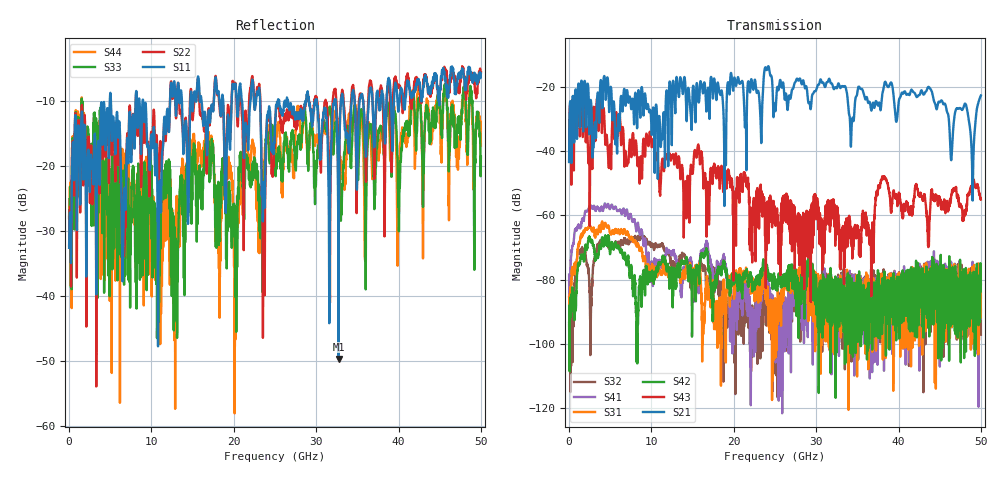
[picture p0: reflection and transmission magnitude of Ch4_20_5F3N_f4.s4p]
!Agilent Technologies,N5247A,US51170199,A.09.90.13
!Agilent N5247A: A.09.90.13
!Date: Monday, December 14, 2015 15:28:08
!Correction: S11(Full 4 Port(1,2,3,4))
!S12(Full 4 Port(1,2,3,4))
!S13(Full 4 Port(1,2,3,4))
!S14(Full 4 Port(1,2,3,4))
!S21(Full 4 Port(1,2,3,4))
!S22(Full 4 Port(1,2,3,4))
!S23(Full 4 Port(1,2,3,4))
!S24(Full 4 Port(1,2,3,4))
!S31(Full 4 Port(1,2,3,4))
!S32(Full 4 Port(1,2,3,4))
!S33(Full 4 Port(1,2,3,4))
!S34(Full 4 Port(1,2,3,4))
!S41(Full 4 Port(1,2,3,4))
!S42(Full 4 Port(1,2,3,4))
!S43(Full 4 Port(1,2,3,4))
!S44(Full 4 Port(1,2,3,4))
!S4P File: Measurements: <S11,S12,S13,S14>,
!<S21,S22,S23,S24>,
!<S31,S32,S33,S34>,
!<S41,S42,S43,S44>:
# Hz S  dB  R 50
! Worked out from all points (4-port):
!   3201 points, 10 MHz to 50 GHz, reference 50 ohm
!   strongest paths, dB at 10 MHz, 12.51 GHz, 25 GHz, 37.5 GHz, 50 GHz:
!     S21: -43.3, -27.4, -26.4, -25.7, -22.6
!     S43: -43.2, -41.4, -59.1, -52.3, -55.0
!     S42: -93.2, -79.7, -80.6, -77.1, -81.4
!     S31: -85.5, -78.2, -85.9, -87.5, -85.6
!     S41: -78.4, -72.0, -91.9, -86.4, -89.5
!     S32: -94.2, -74.8, -104.2, -84.4, -97.2
!   lowest |S11| = -49.7 dB at 32.72 GHz (marker M1), VSWR 1.01, Z = 49.9 - j0.318 ohm
!   |S11| at or under -10 dB: start of sweep to 4.951 GHz; 5.087 GHz to 8.082 GHz (2.994 GHz wide, 45.5 % of centre); 8.997 GHz to 12.26 GHz (3.26 GHz wide, 30.7 % of centre)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
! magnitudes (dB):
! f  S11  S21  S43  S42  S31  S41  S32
! 10 MHz  -32.6  -43.3  -43.2  -93.2  -85.5  -78.4  -94.2
! 4.54 GHz  -13.4  -19.6  -34.9  -68.7  -63.5  -57.5  -68.1
! 6.649 GHz  -26.6  -21.1  -37.4  -73.2  -64.8  -57.9  -67.8
! 10.01 GHz  -15.1  -33.2  -38.4  -78.6  -76.8  -75.5  -69.7
! 32.72 GHz  -49.7  -18.8  -66.0  -89.9  -84.2  -79.2  -83.9
! 48.98 GHz  -7.2  -53.5  -49.3  -80.1  -99.9  -74.4  -77.6
! 50 GHz  -5.7  -22.6  -55.0  -81.4  -85.6  -89.5  -97.2
